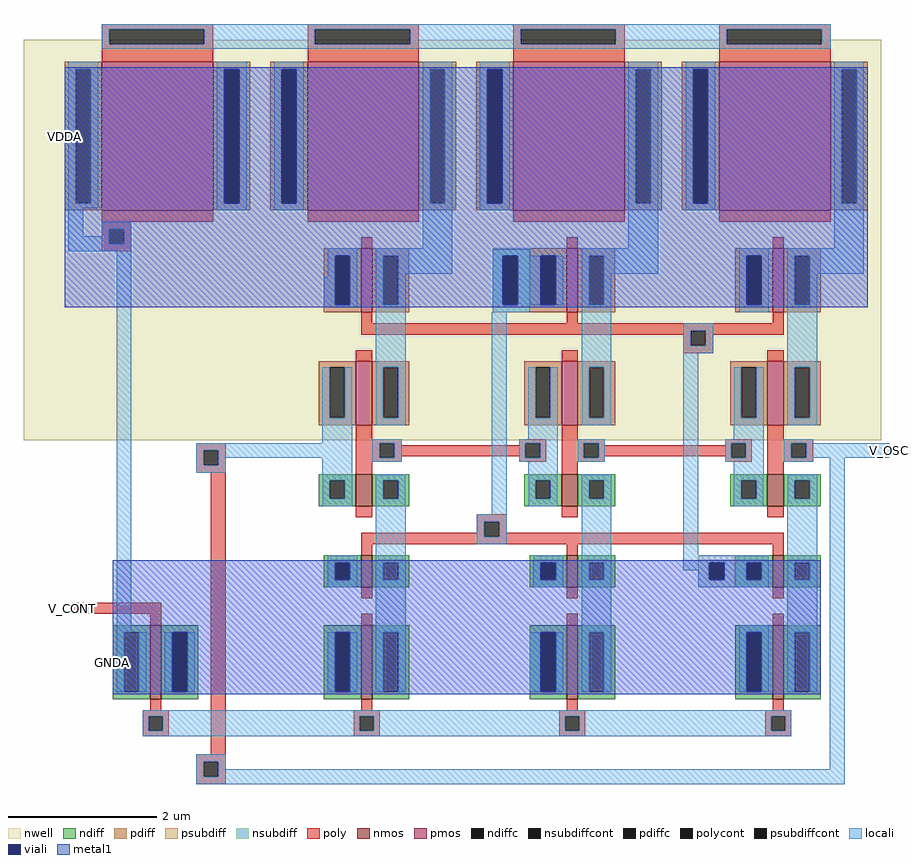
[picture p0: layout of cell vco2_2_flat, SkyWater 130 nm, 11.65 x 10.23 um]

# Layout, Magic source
magic
tech sky130A
<< nwell >>
rect -428 73 726 612
<< nmos >>
rect -258 -276 -243 -176
rect 19 -16 41 27
rect 296 -16 318 27
rect 573 -16 595 27
rect 26 -125 41 -82
rect 303 -125 318 -82
rect 580 -125 595 -82
rect 26 -276 41 -176
rect 303 -276 318 -176
rect 580 -276 595 -176
<< pmos >>
rect -323 382 -173 582
rect -46 382 104 582
rect 231 382 381 582
rect 508 382 658 582
rect 26 245 41 331
rect 303 245 318 331
rect 580 245 595 331
rect 19 93 41 179
rect 296 93 318 179
rect 573 93 595 179
<< ndiff >>
rect -308 -186 -258 -176
rect -308 -266 -293 -186
rect -273 -266 -258 -186
rect -308 -276 -258 -266
rect -243 -186 -193 -176
rect -243 -266 -228 -186
rect -208 -266 -193 -186
rect -243 -276 -193 -266
rect -31 19 19 27
rect -31 -6 -16 19
rect 4 -6 19 19
rect -31 -16 19 -6
rect 41 19 91 27
rect 41 -6 56 19
rect 76 -6 91 19
rect 41 -16 91 -6
rect 246 19 296 27
rect 246 -6 261 19
rect 281 -6 296 19
rect 246 -16 296 -6
rect 318 19 368 27
rect 318 -6 333 19
rect 353 -6 368 19
rect 318 -16 368 -6
rect 523 19 573 27
rect 523 -6 538 19
rect 558 -6 573 19
rect 523 -16 573 -6
rect 595 19 645 27
rect 595 -6 610 19
rect 630 -6 645 19
rect 595 -16 645 -6
rect -24 -92 26 -82
rect -24 -115 -9 -92
rect 11 -115 26 -92
rect -24 -125 26 -115
rect 41 -92 91 -82
rect 41 -115 56 -92
rect 76 -115 91 -92
rect 41 -125 91 -115
rect 253 -92 303 -82
rect 253 -115 268 -92
rect 288 -115 303 -92
rect 253 -125 303 -115
rect 318 -92 368 -82
rect 318 -115 333 -92
rect 353 -115 368 -92
rect 318 -125 368 -115
rect 530 -92 580 -82
rect 530 -115 545 -92
rect 565 -115 580 -92
rect 530 -125 580 -115
rect 595 -92 645 -82
rect 595 -115 610 -92
rect 630 -115 645 -92
rect 595 -125 645 -115
rect -24 -186 26 -176
rect -24 -266 -9 -186
rect 11 -266 26 -186
rect -24 -276 26 -266
rect 41 -186 91 -176
rect 41 -266 56 -186
rect 76 -266 91 -186
rect 41 -276 91 -266
rect 253 -186 303 -176
rect 253 -266 268 -186
rect 288 -266 303 -186
rect 253 -276 303 -266
rect 318 -186 368 -176
rect 318 -266 333 -186
rect 353 -266 368 -186
rect 318 -276 368 -266
rect 530 -186 580 -176
rect 530 -266 545 -186
rect 565 -266 580 -186
rect 530 -276 580 -266
rect 595 -186 645 -176
rect 595 -266 610 -186
rect 630 -266 645 -186
rect 595 -276 645 -266
<< pdiff >>
rect -373 572 -323 582
rect -373 392 -358 572
rect -338 392 -323 572
rect -373 382 -323 392
rect -173 572 -123 582
rect -173 392 -158 572
rect -138 392 -123 572
rect -173 382 -123 392
rect -96 572 -46 582
rect -96 392 -81 572
rect -61 392 -46 572
rect -96 382 -46 392
rect 104 572 154 582
rect 104 392 119 572
rect 139 392 154 572
rect 104 382 154 392
rect 181 572 231 582
rect 181 392 196 572
rect 216 392 231 572
rect 181 382 231 392
rect 381 572 431 582
rect 381 392 396 572
rect 416 392 431 572
rect 381 382 431 392
rect 458 572 508 582
rect 458 392 473 572
rect 493 392 508 572
rect 458 382 508 392
rect 658 572 708 582
rect 658 392 673 572
rect 693 392 708 572
rect 658 382 708 392
rect -24 321 26 331
rect -24 255 -9 321
rect 11 255 26 321
rect -24 245 26 255
rect 41 321 91 331
rect 41 255 56 321
rect 76 255 91 321
rect 41 245 91 255
rect 253 321 303 331
rect 253 255 268 321
rect 288 255 303 321
rect 253 245 303 255
rect 318 321 368 331
rect 318 255 333 321
rect 353 255 368 321
rect 318 245 368 255
rect 530 321 580 331
rect 530 255 545 321
rect 565 255 580 321
rect 530 245 580 255
rect 595 321 645 331
rect 595 255 610 321
rect 630 255 645 321
rect 595 245 645 255
rect -31 171 19 179
rect -31 103 -16 171
rect 4 103 19 171
rect -31 93 19 103
rect 41 171 91 179
rect 41 103 56 171
rect 76 103 91 171
rect 41 93 91 103
rect 246 171 296 179
rect 246 103 261 171
rect 281 103 296 171
rect 246 93 296 103
rect 318 171 368 179
rect 318 103 333 171
rect 353 103 368 171
rect 318 93 368 103
rect 523 171 573 179
rect 523 103 538 171
rect 558 103 573 171
rect 523 93 573 103
rect 595 171 645 179
rect 595 103 610 171
rect 630 103 645 171
rect 595 93 645 103
<< ndiffc >>
rect -293 -266 -273 -186
rect -228 -266 -208 -186
rect -16 -6 4 19
rect 56 -6 76 19
rect 261 -6 281 19
rect 333 -6 353 19
rect 538 -6 558 19
rect 610 -6 630 19
rect -9 -115 11 -92
rect 56 -115 76 -92
rect 268 -115 288 -92
rect 333 -115 353 -92
rect 545 -115 565 -92
rect 610 -115 630 -92
rect -9 -266 11 -186
rect 56 -266 76 -186
rect 268 -266 288 -186
rect 333 -266 353 -186
rect 545 -266 565 -186
rect 610 -266 630 -186
<< pdiffc >>
rect -358 392 -338 572
rect -158 392 -138 572
rect -81 392 -61 572
rect 119 392 139 572
rect 196 392 216 572
rect 396 392 416 572
rect 473 392 493 572
rect 673 392 693 572
rect -9 255 11 321
rect 56 255 76 321
rect 268 255 288 321
rect 333 255 353 321
rect 545 255 565 321
rect 610 255 630 321
rect -16 103 4 171
rect 56 103 76 171
rect 261 103 281 171
rect 333 103 353 171
rect 538 103 558 171
rect 610 103 630 171
<< psubdiff >>
rect 480 -92 530 -82
rect 480 -115 495 -92
rect 515 -115 530 -92
rect 480 -125 530 -115
<< nsubdiff >>
rect 203 321 253 331
rect 203 255 217 321
rect 237 255 253 321
rect 203 245 253 255
<< psubdiffcont >>
rect 495 -115 515 -92
<< nsubdiffcont >>
rect 217 255 237 321
<< poly >>
rect -323 626 -173 633
rect -323 606 -313 626
rect -185 606 -173 626
rect -323 582 -173 606
rect -46 626 104 633
rect -46 606 -36 626
rect 92 606 104 626
rect -46 582 104 606
rect 231 626 381 633
rect 231 606 241 626
rect 369 606 381 626
rect 231 582 381 606
rect 508 626 658 633
rect 508 606 518 626
rect 646 606 658 626
rect 508 582 658 606
rect -323 367 -173 382
rect -46 367 104 382
rect 231 367 381 382
rect 508 367 658 382
rect -323 357 -283 367
rect -323 337 -313 357
rect -293 337 -283 357
rect -323 327 -283 337
rect 26 331 41 346
rect 303 331 318 346
rect 580 331 595 346
rect 26 230 41 245
rect 303 230 318 245
rect 580 230 595 245
rect 26 220 595 230
rect 26 215 470 220
rect 460 200 470 215
rect 490 215 595 220
rect 490 200 500 215
rect 19 179 41 194
rect 296 179 318 194
rect 460 190 500 200
rect 573 179 595 194
rect 19 74 41 93
rect 296 74 318 93
rect 573 74 595 93
rect 19 69 81 74
rect -196 59 -156 69
rect -196 39 -186 59
rect -166 39 -156 59
rect -196 29 -156 39
rect -363 -161 -243 -146
rect -258 -176 -243 -161
rect -258 -291 -243 -276
rect -268 -299 -233 -291
rect -268 -318 -260 -299
rect -241 -318 -233 -299
rect -268 -326 -233 -318
rect -176 -350 -156 29
rect 19 49 51 69
rect 71 66 81 69
rect 239 69 275 74
rect 239 66 247 69
rect 71 51 247 66
rect 71 49 81 51
rect 19 44 81 49
rect 239 49 247 51
rect 267 49 275 69
rect 239 44 275 49
rect 296 69 354 74
rect 296 49 326 69
rect 346 66 354 69
rect 516 69 552 74
rect 516 66 524 69
rect 346 51 524 66
rect 346 49 354 51
rect 296 44 354 49
rect 516 49 524 51
rect 544 49 552 69
rect 516 44 552 49
rect 573 69 635 74
rect 573 49 605 69
rect 625 49 635 69
rect 573 44 635 49
rect 19 27 41 44
rect 296 27 318 44
rect 573 27 595 44
rect 19 -31 41 -16
rect 182 -37 222 -27
rect 296 -31 318 -16
rect 573 -31 595 -16
rect 182 -52 192 -37
rect 26 -57 192 -52
rect 212 -52 222 -37
rect 212 -57 595 -52
rect 26 -67 595 -57
rect 26 -82 41 -67
rect 303 -82 318 -67
rect 580 -82 595 -67
rect 26 -140 41 -125
rect 303 -140 318 -125
rect 580 -140 595 -125
rect 26 -176 41 -161
rect 303 -176 318 -161
rect 580 -176 595 -161
rect 26 -291 41 -276
rect 303 -291 318 -276
rect 580 -291 595 -276
rect 16 -299 51 -291
rect 16 -318 24 -299
rect 43 -318 51 -299
rect 16 -326 51 -318
rect 293 -299 328 -291
rect 293 -318 301 -299
rect 320 -318 328 -299
rect 293 -326 328 -318
rect 570 -299 605 -291
rect 570 -318 578 -299
rect 597 -318 605 -299
rect 570 -326 605 -318
rect -196 -360 -156 -350
rect -196 -380 -186 -360
rect -166 -380 -156 -360
rect -196 -390 -156 -380
<< polycont >>
rect -313 606 -185 626
rect -36 606 92 626
rect 241 606 369 626
rect 518 606 646 626
rect -313 337 -293 357
rect 470 200 490 220
rect -186 39 -166 59
rect -260 -318 -241 -299
rect 51 49 71 69
rect 247 49 267 69
rect 326 49 346 69
rect 524 49 544 69
rect 605 49 625 69
rect 192 -57 212 -37
rect 24 -318 43 -299
rect 301 -318 320 -299
rect 578 -318 597 -299
rect -186 -380 -166 -360
<< locali >>
rect -323 626 658 633
rect -323 606 -313 626
rect -185 606 -36 626
rect 92 606 241 626
rect 369 606 518 626
rect 646 606 658 626
rect -323 600 658 606
rect -368 572 -328 582
rect -368 392 -358 572
rect -338 392 -328 572
rect -368 385 -328 392
rect -168 572 -128 582
rect -168 392 -158 572
rect -138 392 -128 572
rect -368 347 -348 385
rect -168 382 -128 392
rect -91 572 -51 582
rect -91 392 -81 572
rect -61 392 -51 572
rect -91 382 -51 392
rect 109 572 149 582
rect 109 392 119 572
rect 139 392 149 572
rect -323 357 -283 367
rect -323 347 -313 357
rect -368 337 -313 347
rect -293 337 -283 357
rect -368 327 -283 337
rect 109 331 149 392
rect 186 572 226 582
rect 186 392 196 572
rect 216 392 226 572
rect 186 382 226 392
rect 386 572 426 582
rect 386 392 396 572
rect 416 392 426 572
rect 386 331 426 392
rect 463 572 503 582
rect 463 392 473 572
rect 493 392 503 572
rect 463 382 503 392
rect 663 572 703 582
rect 663 392 673 572
rect 693 392 703 572
rect 663 331 703 392
rect -303 -186 -283 327
rect -19 321 21 331
rect -19 292 -9 321
rect -24 255 -9 292
rect 11 255 21 321
rect -24 252 21 255
rect 46 321 149 331
rect 46 255 56 321
rect 76 297 149 321
rect 203 321 254 330
rect 323 321 426 331
rect 76 255 86 297
rect 46 171 86 255
rect 203 255 217 321
rect 237 255 268 321
rect 288 255 298 321
rect 323 255 333 321
rect 353 297 426 321
rect 535 321 575 331
rect 353 255 363 297
rect 203 245 254 255
rect -26 103 -16 171
rect 4 103 14 171
rect -26 69 14 103
rect 46 103 56 171
rect 76 103 86 171
rect 46 93 86 103
rect -196 59 14 69
rect -196 39 -186 59
rect -166 49 14 59
rect -166 39 -156 49
rect -196 29 -156 39
rect -26 19 14 49
rect 41 69 81 74
rect 41 49 51 69
rect 71 49 81 69
rect 41 44 81 49
rect -26 -6 -16 19
rect 4 -6 14 19
rect -26 -16 14 -6
rect 46 19 86 27
rect 46 -6 56 19
rect 76 -6 86 19
rect -19 -92 21 -82
rect -19 -115 -9 -92
rect 11 -115 21 -92
rect -19 -125 21 -115
rect 46 -92 86 -6
rect 202 -27 222 245
rect 323 171 363 255
rect 535 255 545 321
rect 565 255 575 321
rect 535 245 575 255
rect 600 321 703 331
rect 600 255 610 321
rect 630 297 703 321
rect 630 255 640 297
rect 251 103 261 171
rect 281 103 291 171
rect 251 74 291 103
rect 323 103 333 171
rect 353 103 363 171
rect 323 93 363 103
rect 460 220 500 230
rect 460 200 470 220
rect 490 200 500 220
rect 460 190 500 200
rect 239 69 291 74
rect 239 49 247 69
rect 267 49 291 69
rect 239 44 291 49
rect 318 69 354 74
rect 318 49 326 69
rect 346 49 354 69
rect 318 44 354 49
rect 251 19 291 44
rect 251 -6 261 19
rect 281 -6 291 19
rect 251 -16 291 -6
rect 323 19 363 27
rect 323 -6 333 19
rect 353 -6 363 19
rect 182 -37 222 -27
rect 182 -57 192 -37
rect 212 -57 222 -37
rect 182 -67 222 -57
rect 46 -115 56 -92
rect 76 -115 86 -92
rect 46 -186 86 -115
rect 258 -92 298 -82
rect 258 -115 268 -92
rect 288 -115 298 -92
rect 258 -125 298 -115
rect 323 -92 363 -6
rect 323 -115 333 -92
rect 353 -115 363 -92
rect 460 -82 480 190
rect 600 171 640 255
rect 528 103 538 171
rect 558 103 568 171
rect 528 75 568 103
rect 600 103 610 171
rect 630 103 640 171
rect 600 93 640 103
rect 527 74 568 75
rect 516 69 568 74
rect 516 49 524 69
rect 544 49 568 69
rect 516 44 568 49
rect 595 69 635 74
rect 595 49 605 69
rect 625 49 737 69
rect 595 44 635 49
rect 527 43 568 44
rect 528 19 568 43
rect 528 -6 538 19
rect 558 -6 568 19
rect 528 -16 568 -6
rect 600 19 640 27
rect 600 -6 610 19
rect 630 -6 640 19
rect 460 -92 575 -82
rect 460 -102 495 -92
rect 323 -186 363 -115
rect 480 -115 495 -102
rect 515 -115 545 -92
rect 565 -115 575 -92
rect 480 -125 575 -115
rect 600 -92 640 -6
rect 600 -115 610 -92
rect 630 -115 640 -92
rect -303 -266 -293 -186
rect -273 -266 -263 -186
rect -238 -266 -228 -186
rect -208 -266 -198 -186
rect -19 -266 -9 -186
rect 11 -266 21 -186
rect 46 -266 56 -186
rect 76 -266 86 -186
rect 253 -266 268 -186
rect 288 -266 298 -186
rect 323 -266 333 -186
rect 353 -266 363 -186
rect 535 -186 575 -176
rect 535 -266 545 -186
rect 565 -266 575 -186
rect 600 -186 640 -115
rect 600 -266 610 -186
rect 630 -266 640 -186
rect -268 -299 605 -291
rect -268 -318 -260 -299
rect -241 -318 24 -299
rect 43 -318 301 -299
rect 320 -318 578 -299
rect 597 -318 605 -299
rect -268 -326 605 -318
rect -196 -360 -156 -350
rect -196 -380 -186 -360
rect -166 -370 -156 -360
rect 657 -370 677 49
rect -166 -380 677 -370
rect -196 -390 677 -380
<< viali >>
rect -158 392 -138 572
rect -81 392 -61 572
rect 196 392 216 572
rect 473 392 493 572
rect -9 255 11 321
rect 217 255 237 321
rect 268 255 288 321
rect -9 -115 11 -92
rect 545 255 565 321
rect 268 -115 288 -92
rect 495 -115 515 -92
rect 545 -115 565 -92
rect -228 -266 -208 -186
rect -9 -266 11 -186
rect 268 -266 288 -186
rect 545 -266 565 -186
<< metal1 >>
rect -373 572 708 575
rect -373 392 -158 572
rect -138 392 -81 572
rect -61 392 196 572
rect 216 392 473 572
rect 493 392 708 572
rect -373 321 708 392
rect -373 255 -9 321
rect 11 255 217 321
rect 237 255 268 321
rect 288 255 545 321
rect 565 255 708 321
rect -373 252 708 255
rect -308 -92 645 -89
rect -308 -115 -9 -92
rect 11 -115 268 -92
rect 288 -115 495 -92
rect 515 -115 545 -92
rect 565 -115 645 -92
rect -308 -186 645 -115
rect -308 -266 -228 -186
rect -208 -266 -9 -186
rect 11 -266 268 -186
rect 288 -266 545 -186
rect 565 -266 645 -186
rect -308 -269 645 -266
<< labels >>
flabel metal1 -373 482 -373 482 7 FreeSans 80 0 0 0 VDDA
flabel locali 737 59 737 59 3 FreeSans 80 0 0 0 V_OSC
flabel poly -363 -154 -363 -154 7 FreeSans 80 0 0 0 V_CONT
flabel metal1 -308 -226 -308 -226 7 FreeSans 80 0 0 0 GNDA
<< end >>
